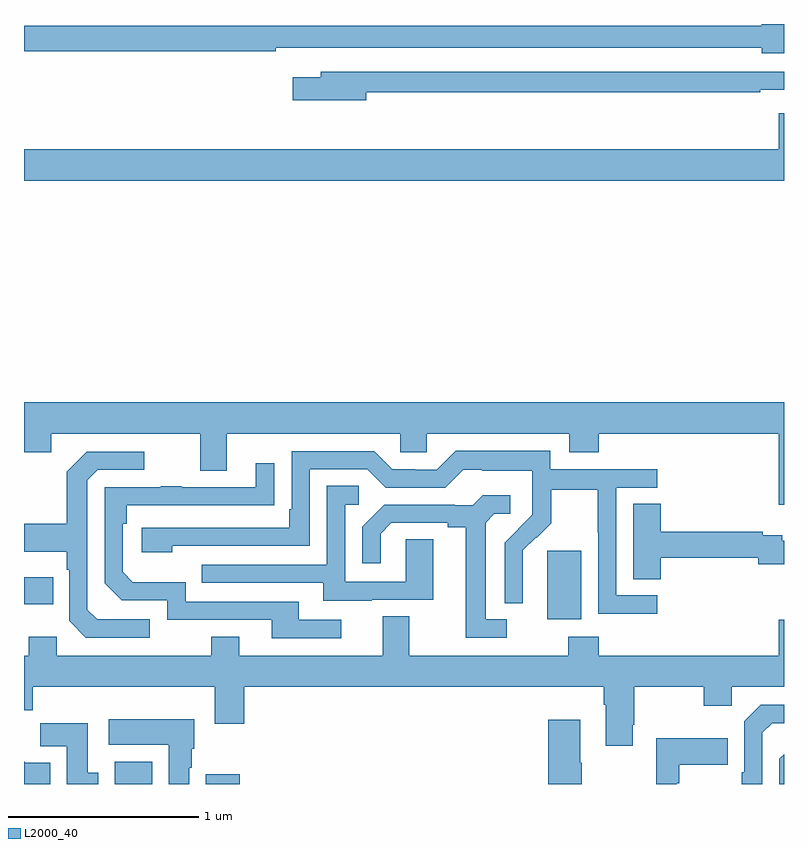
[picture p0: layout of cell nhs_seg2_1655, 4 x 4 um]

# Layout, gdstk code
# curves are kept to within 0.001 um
import gdstk
lib = gdstk.Library(unit=1e-6, precision=1e-09)
def R(c, l, rs):  # rectangles x0, y0, x1, y1
    for r in rs: c.add(gdstk.rectangle(r[:2], r[2:], *l))
def P(c, l, *ps):  # polygons
    for p in ps: c.add(gdstk.Polygon(p, *l))
L2000_40 = (2000, 40)

nhs_seg2_1655 = lib.new_cell('nhs_seg2_1655')
R(nhs_seg2_1655, L2000_40, [(197.477,637.8,197.674,637.918), (197.957,637.8,198.136,637.852), (199.754,638.666,199.933,639.027), (197,638.747,197.153,638.887)])
P(nhs_seg2_1655, L2000_40, [(201,641.8),(200.882,641.8),(200.882,641.792),(197,641.792),(197,641.656),(198.326,641.656),(198.326,641.676),(200.882,641.676),(200.882,641.645),(201,641.645)],
  [(198.802,641.442),(200.876,641.442),(200.876,641.454),(201,641.454),(201,641.55),(198.563,641.55),(198.563,641.521),(198.414,641.521),(198.414,641.399),(198.802,641.399)],
  [(201,641.329),(200.972,641.329),(200.972,641.14),(197,641.14),(197,640.976),(201,640.976)],
  [(201,639.808),(197,639.808),(197,639.545),(197.143,639.545),(197.143,639.644),(197.927,639.644),(197.927,639.45),(198.067,639.45),(198.067,639.644),(198.981,639.644),(198.981,639.546),(199.119,639.546),(199.119,639.644),(199.871,639.644),(199.871,639.545),(200.024,639.545),(200.024,639.644),(200.972,639.644),(200.972,639.27),(201,639.27)],
  [(200.332,638.793),(200.118,638.793),(200.118,639.36),(200.332,639.36),(200.332,639.456),(199.77,639.456),(199.77,639.553),(199.273,639.553),(199.173,639.453),(199.058,639.453),(199.058,639.456),(198.939,639.456),(198.843,639.552),(198.408,639.552),(198.408,639.247),(198.395,639.247),(198.395,639.15),(197.619,639.15),(197.619,639.02),(197.78,639.02),(197.78,639.054),(198.504,639.054),(198.504,639.456),(198.807,639.456),(198.903,639.36),(199.218,639.36),(199.311,639.453),(199.411,639.453),(199.411,639.449),(199.674,639.449),(199.674,639.315),(199.676,639.315),(199.676,639.218),(199.53,639.07),(199.53,638.752),(199.626,638.752),(199.625,639.029),(199.695,639.099),(199.698,639.096),(199.775,639.173),(199.775,639.348),(200.02,639.348),(200.02,639.124),(200.022,639.124),(200.022,638.695),(200.332,638.695)],
  [(197.662,638.667),(197.385,638.667),(197.334,638.718),(197.334,639.399),(197.388,639.453),(197.632,639.453),(197.632,639.549),(197.331,639.549),(197.226,639.443),(197.226,639.171),(197,639.171),(197,639.023),(197.226,639.023),(197.226,638.927),(197.238,638.927),(197.238,638.658),(197.325,638.571),(197.662,638.571)],
  [(198.67,638.664),(198.445,638.664),(198.445,638.76),(197.85,638.76),(197.85,638.863),(197.573,638.863),(197.52,638.916),(197.52,639.17),(197.54,639.17),(197.54,639.267),(198.317,639.268),(198.317,639.487),(198.221,639.487),(198.221,639.363),(197.831,639.363),(197.831,639.368),(197.719,639.368),(197.719,639.363),(197.424,639.363),(197.424,638.856),(197.514,638.766),(197.754,638.766),(197.754,638.664),(198.305,638.664),(198.305,638.568),(198.67,638.568)],
  [(198.829,638.769),(199.153,638.769),(199.153,639.089),(199.008,639.089),(199.008,638.865),(198.69,638.865),(198.69,639.27),(198.763,639.27),(198.763,639.371),(198.594,639.371),(198.594,638.955),(197.935,638.955),(197.935,638.859),(198.575,638.859),(198.575,638.765),(198.829,638.765)],
  [(199.54,638.667),(199.429,638.667),(199.429,639.175),(199.476,639.222),(199.558,639.222),(199.558,639.319),(199.414,639.319),(199.362,639.267),(199.268,639.267),(199.268,639.27),(198.896,639.27),(198.78,639.154),(198.78,638.961),(198.877,638.961),(198.877,639.117),(198.934,639.174),(199.229,639.174),(199.229,639.152),(199.325,639.152),(199.325,638.571),(199.54,638.571)],
  [(200.351,638.992),(200.864,638.992),(200.864,638.957),(201,638.957),(201,639.079),(200.992,639.079),(200.992,639.108),(200.888,639.108),(200.888,639.128),(200.351,639.128),(200.351,639.275),(200.207,639.275),(200.207,638.878),(200.351,638.878)],
  [(200.203,638.113),(200.211,638.113),(200.211,638.312),(200.578,638.312),(200.578,638.213),(200.724,638.213),(200.724,638.312),(201,638.312),(201,638.665),(200.972,638.665),(200.972,638.476),(200.024,638.476),(200.024,638.575),(199.864,638.575),(199.864,638.476),(199.027,638.476),(199.027,638.684),(198.887,638.684),(198.887,638.476),(198.133,638.476),(198.133,638.575),(197.986,638.575),(197.986,638.476),(197.172,638.476),(197.172,638.575),(197.026,638.575),(197.026,638.476),(197,638.476),(197,638.188),(197.045,638.188),(197.045,638.312),(198.005,638.312),(198.005,638.118),(198.158,638.118),(198.158,638.312),(200.051,638.312),(200.051,638.216),(200.063,638.216),(200.063,638.001),(200.203,638.001)],
  [(200.886,638.07),(200.937,638.121),(201,638.121),(201,638.217),(200.877,638.217),(200.79,638.13),(200.79,637.861),(200.778,637.861),(200.778,637.8),(200.886,637.8)],
  [(197.869,637.886),(197.884,637.886),(197.884,637.986),(197.896,637.986),(197.896,638.14),(197.445,638.14),(197.445,638.006),(197.762,638.006),(197.762,637.8),(197.869,637.8)],
  [(199.935,637.913),(199.927,637.913),(199.927,638.137),(199.76,638.137),(199.76,637.8),(199.935,637.8)],
  [(197.392,637.86),(197.335,637.86),(197.335,638.119),(197.086,638.119),(197.086,638),(197.225,638),(197.225,637.8),(197.392,637.8)],
  [(200.436,637.805),(200.449,637.805),(200.449,637.901),(200.705,637.901),(200.705,638.041),(200.328,638.041),(200.328,637.8),(200.436,637.8)],
  [(201,637.956),(200.976,637.932),(200.976,637.8),(201,637.8)],
  [(197.137,637.912),(197.004,637.912),(197.004,637.918),(197,637.918),(197,637.8),(197.137,637.8)])

lib.write_gds('nhs_seg2_1655.gds')
